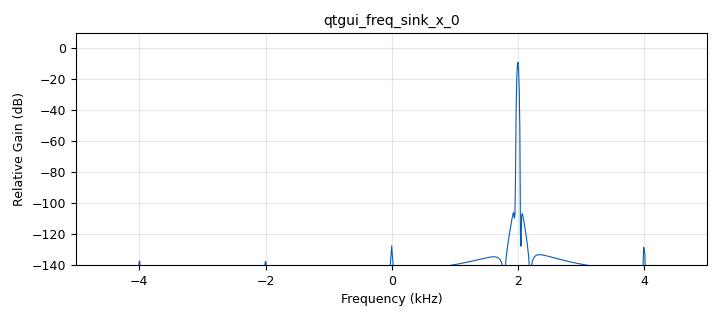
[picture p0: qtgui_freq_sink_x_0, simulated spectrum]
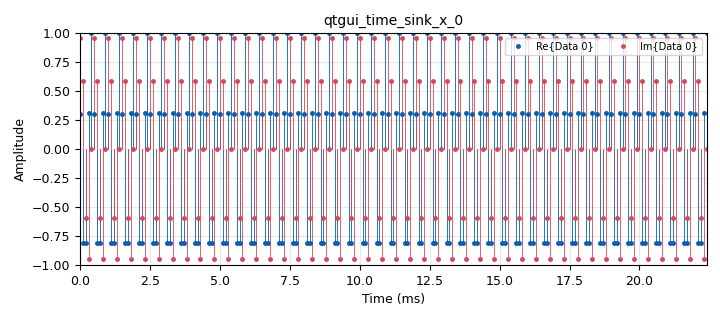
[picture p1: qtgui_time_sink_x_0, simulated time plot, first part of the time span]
options:
  parameters:
    generate_options: qt_gui
    id: nyquist
    output_language: python
    title: Nyquist
  states: {}

blocks:
- name: freq
  id: variable_qtgui_range
  parameters:
    label: frequency
    start: 1e3
    step: 1e3
    stop: 40e3
    value: 2e3
  states: {}
- name: samp_rate
  id: variable_qtgui_range
  parameters:
    label: frecuencia de muestreo
    start: 1e3
    step: 1e3
    stop: 80e3
    value: 10e3
  states: {}
- name: analog_sig_source_x_0
  id: analog_sig_source_x
  parameters:
    amp: '1'
    freq: freq
    offset: '0'
    phase: '0'
    samp_rate: samp_rate
    type: complex
    waveform: analog.GR_SIN_WAVE
  states: {}
- name: blocks_throttle2_0
  id: blocks_throttle2
  parameters:
    samples_per_second: samp_rate
    type: complex
  states: {}
- name: qtgui_freq_sink_x_0
  id: qtgui_freq_sink_x
  parameters:
    bw: samp_rate
    fc: '0'
    fftsize: '1024'
    type: complex
  states: {}
- name: qtgui_time_sink_x_0
  id: qtgui_time_sink_x
  parameters:
    size: '1024'
    srate: samp_rate
    stemplot: 'True'
    type: complex
  states: {}

connections:
- [analog_sig_source_x_0, '0', blocks_throttle2_0, '0']
- [blocks_throttle2_0, '0', qtgui_freq_sink_x_0, '0']
- [blocks_throttle2_0, '0', qtgui_time_sink_x_0, '0']

metadata:
  file_format: 1
  grc_version: 3.10.9.2
